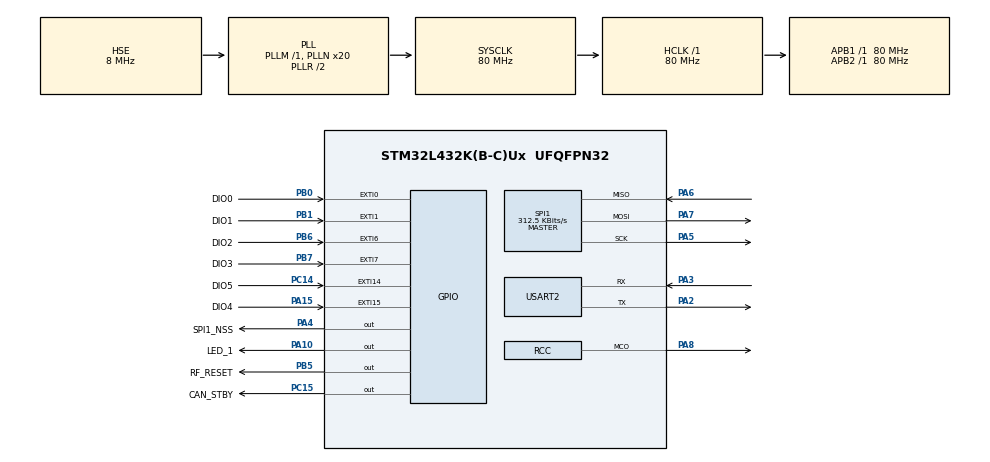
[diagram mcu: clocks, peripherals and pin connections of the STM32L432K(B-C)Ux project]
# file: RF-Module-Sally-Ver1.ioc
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Mcu.Family=STM32L4
Mcu.Name=STM32L432K(B-C)Ux
Mcu.Package=UFQFPN32
NVIC.PriorityGroup=NVIC_PRIORITYGROUP_4
PA0.Mode=HSE-External-Clock-Source-for-LittleOrca
PA0.Signal=RCC_CK_IN
PA10.GPIO_Label=LED_1
PA10.Signal=GPIO_Output
PA13\ (JTMS-SWDIO).Mode=Serial_Wire
PA13\ (JTMS-SWDIO).Signal=SYS_JTMS-SWDIO
PA14\ (JTCK-SWCLK).Mode=Serial_Wire
PA14\ (JTCK-SWCLK).Signal=SYS_JTCK-SWCLK
PA15\ (JTDI).GPIO_Label=DIO4
PA15\ (JTDI).Signal=GPXTI15
PA2.Mode=Asynchronous
PA2.Signal=USART2_TX
PA3.Mode=Asynchronous
PA3.Signal=USART2_RX
PA4.GPIO_Label=SPI1_NSS
PA4.Signal=GPIO_Output
PA5.Mode=Full_Duplex_Master
PA5.Signal=SPI1_SCK
PA6.Mode=Full_Duplex_Master
PA6.Signal=SPI1_MISO
PA7.Mode=Full_Duplex_Master
PA7.Signal=SPI1_MOSI
PA8.Mode=Clock-out
PA8.Signal=RCC_MCO
PB0.GPIO_Label=DIO0
PB0.Signal=GPXTI0
PB1.GPIO_Label=DIO1
PB1.Signal=GPXTI1
PB5.GPIO_Label=RF_RESET
PB5.Signal=GPIO_Output
PB6.GPIO_Label=DIO2
PB6.Signal=GPXTI6
PB7.GPIO_Label=DIO3
PB7.Signal=GPXTI7
PC14-OSC32_IN\ (PC14).GPIO_Label=DIO5
PC14-OSC32_IN\ (PC14).Signal=GPXTI14
PC15-OSC32_OUT\ (PC15).GPIO_Label=CAN_STBY
PC15-OSC32_OUT\ (PC15).Signal=GPIO_Output
ProjectManager.HeapSize=0x200
ProjectManager.StackSize=0x400
ProjectManager.TargetToolchain=STM32CubeIDE
RCC.ADCFreq_Value=32000000
RCC.AHBFreq_Value=80000000
RCC.APB1Freq_Value=80000000
RCC.APB1TimFreq_Value=80000000
RCC.APB2Freq_Value=80000000
RCC.APB2TimFreq_Value=80000000
RCC.CortexFreq_Value=80000000
RCC.HCLKFreq_Value=80000000
RCC.HSE_VALUE=8000000
RCC.HSI48_VALUE=48000000
RCC.HSI_VALUE=16000000
RCC.LSE_VALUE=32768
RCC.MSI_VALUE=4000000
RCC.PLLN=20
RCC.PLLSourceVirtual=RCC_PLLSOURCE_HSE
RCC.RCC_MCODiv=RCC_MCODIV_16
RCC.SYSCLKFreq_VALUE=80000000
RCC.SYSCLKSource=RCC_SYSCLKSOURCE_PLLCLK
RCC.USBFreq_Value=32000000
RCC.VCOOutputFreq_Value=160000000
SPI1.BaudRatePrescaler=SPI_BAUDRATEPRESCALER_256
SPI1.CalculateBaudRate=312.5 KBits/s
SPI1.DataSize=SPI_DATASIZE_8BIT
SPI1.Direction=SPI_DIRECTION_2LINES
SPI1.Mode=SPI_MODE_MASTER
SPI1.VirtualType=VM_MASTER
USART2.VirtualMode-Asynchronous=VM_ASYNC
board=custom

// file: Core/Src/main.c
/* USER CODE BEGIN Header */
/**
 ******************************************************************************
 * @file           : main.c
 * @brief          : Main program body
 ******************************************************************************
 * @attention
 *
 * Copyright (c) 2024 STMicroelectronics.
 * All rights reserved.
 *
 * This software is licensed under terms that can be found in the LICENSE file
 * in the root directory of this software component.
 * If no LICENSE file comes with this software, it is provided AS-IS.
 *
 ******************************************************************************
 */
/* USER CODE END Header */
#include "main.h"

/* USER CODE BEGIN Includes */
#include <stdio.h>
#include "lora_sx1276.h"
#include <stdlib.h>
/* USER CODE END Includes */

SPI_HandleTypeDef hspi1;

UART_HandleTypeDef huart2;

void SystemClock_Config(void);
static void MX_GPIO_Init(void);
static void MX_SPI1_Init(void);
static void MX_USART2_UART_Init(void);

/* USER CODE BEGIN 0 */
#ifdef __GNUC__
#define PUTCHAR_PROTOTYPE int __io_putchar(int ch)
#else
#define PUTCHAR_PROTOTYPE int fputc(int ch, FILE *f)
#endif

PUTCHAR_PROTOTYPE {
	HAL_UART_Transmit(&huart2, (uint8_t*) &ch, 1, HAL_MAX_DELAY);
	return ch;
}

void sleep_until(uint32_t ticks) {
	HAL_Delay(ticks);
}

int random_int() {
	return rand();
}

/* USER CODE END 0 */

int main(void) {

	/* MCU Configuration--------------------------------------------------------*/

	/* Reset of all peripherals, Initializes the Flash interface and the Systick. */
	HAL_Init();

	/* Configure the system clock */
	SystemClock_Config();

	/* Initialize all configured peripherals */
	MX_GPIO_Init();
	MX_SPI1_Init();
	MX_USART2_UART_Init();
	/* USER CODE BEGIN 2 */

	printf("\033[2J");
	lora_sx1276 lora;
	// Initialise RFM95 module.
	// SX1276 compatible module connected to SPI1, NSS pin connected to GPIO with label LORA_NSS
	HAL_GPIO_WritePin(RF_RESET_GPIO_Port, RF_RESET_Pin, GPIO_PIN_RESET);
	HAL_Delay(10);
	HAL_GPIO_WritePin(RF_RESET_GPIO_Port, RF_RESET_Pin, GPIO_PIN_SET);
	HAL_Delay(100);

	uint8_t value = 0;
	uint8_t reg = 0x42 & 0x7fu;
	// 7bit controls read/write mode
	//CLEAR_BIT(address, BIT_7);
	//address = address & 0x7fu;
	// Start SPI transaction
	HAL_GPIO_WritePin(SPI1_NSS_GPIO_Port, SPI1_NSS_Pin, GPIO_PIN_RESET);
	// Transmit reg address, then receive it value
	uint32_t res1 = HAL_SPI_Transmit(&hspi1, &reg, 1, HAL_MAX_DELAY);
	uint32_t res2 = HAL_SPI_Receive(&hspi1, &value, 1, HAL_MAX_DELAY);
	// End SPI transaction
	HAL_GPIO_WritePin(SPI1_NSS_GPIO_Port, SPI1_NSS_Pin, GPIO_PIN_SET);

	if (res1 != HAL_OK || res2 != HAL_OK) {
		//DEBUGF("SPI transmit/receive failed (%d %d)", res1, res2);
	}

//	uint8_t res = lora_init(&lora, &hspi1, SPI1_NSS_GPIO_Port, SPI1_NSS_Pin,
//			LORA_BASE_FREQUENCY_US);
//	if (res != LORA_OK) {
//		// Initialization failed
//	}
	/* USER CODE END 2 */

	/* Infinite loop */
	while (1) {

		/* USER CODE BEGIN 3 */
		HAL_Delay(100);
		HAL_GPIO_WritePin(RF_RESET_GPIO_Port, RF_RESET_Pin, GPIO_PIN_SET);
		HAL_Delay(10);
		HAL_GPIO_WritePin(RF_RESET_GPIO_Port, RF_RESET_Pin, GPIO_PIN_RESET);
		HAL_Delay(100);

		HAL_GPIO_WritePin(SPI1_NSS_GPIO_Port, SPI1_NSS_Pin, GPIO_PIN_RESET);
		// Transmit reg address, then receive it value
		uint32_t res1 = HAL_SPI_Transmit(&hspi1, &reg, 1, HAL_MAX_DELAY);
		uint32_t res2 = HAL_SPI_Receive(&hspi1, &value, 1, HAL_MAX_DELAY);
		// End SPI transaction
		HAL_GPIO_WritePin(SPI1_NSS_GPIO_Port, SPI1_NSS_Pin, GPIO_PIN_SET);

		printf("%d\r\n", value);

		uint8_t version;
		HAL_GPIO_WritePin(SPI1_NSS_GPIO_Port, SPI1_NSS_Pin, GPIO_PIN_RESET);

		uint8_t transmit_buffer = (uint8_t) 0x42 & 0x7fu;

		if (HAL_SPI_Transmit(&hspi1, &transmit_buffer, 1, 10) != HAL_OK) {

		}

		if (HAL_SPI_Receive(&hspi1, &version, 1, 10) != HAL_OK) {

		}

		HAL_GPIO_WritePin(SPI1_NSS_GPIO_Port, SPI1_NSS_Pin, GPIO_PIN_SET);
//		if (version != RFM9x_VER)
//			return false;
		printf("%d\r\n", version);
		HAL_GPIO_TogglePin(LED_1_GPIO_Port, LED_1_Pin);
		HAL_Delay(100);
	}
	/* USER CODE END 3 */
}

void SystemClock_Config(void) {
	RCC_OscInitTypeDef RCC_OscInitStruct = { 0 };
	RCC_ClkInitTypeDef RCC_ClkInitStruct = { 0 };

	/** Configure the main internal regulator output voltage
	 */
	if (HAL_PWREx_ControlVoltageScaling(PWR_REGULATOR_VOLTAGE_SCALE1)
			!= HAL_OK) {
		Error_Handler();
	}

	/** Initializes the RCC Oscillators according to the specified parameters
	 * in the RCC_OscInitTypeDef structure.
	 */
	RCC_OscInitStruct.OscillatorType = RCC_OSCILLATORTYPE_HSE;
	RCC_OscInitStruct.HSEState = RCC_HSE_BYPASS;
	RCC_OscInitStruct.PLL.PLLState = RCC_PLL_ON;
	RCC_OscInitStruct.PLL.PLLSource = RCC_PLLSOURCE_HSE;
	RCC_OscInitStruct.PLL.PLLM = 1;
	RCC_OscInitStruct.PLL.PLLN = 20;
	RCC_OscInitStruct.PLL.PLLP = RCC_PLLP_DIV7;
	RCC_OscInitStruct.PLL.PLLQ = RCC_PLLQ_DIV2;
	RCC_OscInitStruct.PLL.PLLR = RCC_PLLR_DIV2;
	if (HAL_RCC_OscConfig(&RCC_OscInitStruct) != HAL_OK) {
		Error_Handler();
	}

	/** Initializes the CPU, AHB and APB buses clocks
	 */
	RCC_ClkInitStruct.ClockType = RCC_CLOCKTYPE_HCLK | RCC_CLOCKTYPE_SYSCLK
			| RCC_CLOCKTYPE_PCLK1 | RCC_CLOCKTYPE_PCLK2;
	RCC_ClkInitStruct.SYSCLKSource = RCC_SYSCLKSOURCE_PLLCLK;
	RCC_ClkInitStruct.AHBCLKDivider = RCC_SYSCLK_DIV1;
	RCC_ClkInitStruct.APB1CLKDivider = RCC_HCLK_DIV1;
	RCC_ClkInitStruct.APB2CLKDivider = RCC_HCLK_DIV1;

	if (HAL_RCC_ClockConfig(&RCC_ClkInitStruct, FLASH_LATENCY_4) != HAL_OK) {
		Error_Handler();
	}
	HAL_RCC_MCOConfig(RCC_MCO1, RCC_MCO1SOURCE_SYSCLK, RCC_MCODIV_16);
}

static void MX_SPI1_Init(void) {

	/* SPI1 parameter configuration*/
	hspi1.Instance = SPI1;
	hspi1.Init.Mode = SPI_MODE_MASTER;
	hspi1.Init.Direction = SPI_DIRECTION_2LINES;
	hspi1.Init.DataSize = SPI_DATASIZE_8BIT;
	hspi1.Init.CLKPolarity = SPI_POLARITY_LOW;
	hspi1.Init.CLKPhase = SPI_PHASE_1EDGE;
	hspi1.Init.NSS = SPI_NSS_SOFT;
	hspi1.Init.BaudRatePrescaler = SPI_BAUDRATEPRESCALER_256;
	hspi1.Init.FirstBit = SPI_FIRSTBIT_MSB;
	hspi1.Init.TIMode = SPI_TIMODE_DISABLE;
	hspi1.Init.CRCCalculation = SPI_CRCCALCULATION_DISABLE;
	hspi1.Init.CRCPolynomial = 7;
	hspi1.Init.CRCLength = SPI_CRC_LENGTH_DATASIZE;
	hspi1.Init.NSSPMode = SPI_NSS_PULSE_ENABLE;
	if (HAL_SPI_Init(&hspi1) != HAL_OK) {
		Error_Handler();
	}

}

static void MX_USART2_UART_Init(void) {

	huart2.Instance = USART2;
	huart2.Init.BaudRate = 115200;
	huart2.Init.WordLength = UART_WORDLENGTH_8B;
	huart2.Init.StopBits = UART_STOPBITS_1;
	huart2.Init.Parity = UART_PARITY_NONE;
	huart2.Init.Mode = UART_MODE_TX_RX;
	huart2.Init.HwFlowCtl = UART_HWCONTROL_NONE;
	huart2.Init.OverSampling = UART_OVERSAMPLING_16;
	huart2.Init.OneBitSampling = UART_ONE_BIT_SAMPLE_DISABLE;
	huart2.AdvancedInit.AdvFeatureInit = UART_ADVFEATURE_NO_INIT;
	if (HAL_UART_Init(&huart2) != HAL_OK) {
		Error_Handler();
	}

}

static void MX_GPIO_Init(void) {
	GPIO_InitTypeDef GPIO_InitStruct = { 0 };

	/* GPIO Ports Clock Enable */
	__HAL_RCC_GPIOC_CLK_ENABLE();
	__HAL_RCC_GPIOA_CLK_ENABLE();
	__HAL_RCC_GPIOB_CLK_ENABLE();

	/*Configure GPIO pin Output Level */
	HAL_GPIO_WritePin(CAN_STBY_GPIO_Port, CAN_STBY_Pin, GPIO_PIN_RESET);

	/*Configure GPIO pin Output Level */
	HAL_GPIO_WritePin(GPIOA, SPI1_NSS_Pin | LED_1_Pin, GPIO_PIN_RESET);

	/*Configure GPIO pin Output Level */
	HAL_GPIO_WritePin(RF_RESET_GPIO_Port, RF_RESET_Pin, GPIO_PIN_RESET);

	/*Configure GPIO pin : DIO5_Pin */
	GPIO_InitStruct.Pin = DIO5_Pin;
	GPIO_InitStruct.Mode = GPIO_MODE_IT_RISING;
	GPIO_InitStruct.Pull = GPIO_NOPULL;
	HAL_GPIO_Init(DIO5_GPIO_Port, &GPIO_InitStruct);

	/*Configure GPIO pin : CAN_STBY_Pin */
	GPIO_InitStruct.Pin = CAN_STBY_Pin;
	GPIO_InitStruct.Mode = GPIO_MODE_OUTPUT_PP;
	GPIO_InitStruct.Pull = GPIO_NOPULL;
	GPIO_InitStruct.Speed = GPIO_SPEED_FREQ_LOW;
	HAL_GPIO_Init(CAN_STBY_GPIO_Port, &GPIO_InitStruct);

	/*Configure GPIO pins : SPI1_NSS_Pin LED_1_Pin */
	GPIO_InitStruct.Pin = SPI1_NSS_Pin | LED_1_Pin;
	GPIO_InitStruct.Mode = GPIO_MODE_OUTPUT_PP;
	GPIO_InitStruct.Pull = GPIO_NOPULL;
	GPIO_InitStruct.Speed = GPIO_SPEED_FREQ_LOW;
	HAL_GPIO_Init(GPIOA, &GPIO_InitStruct);

	/*Configure GPIO pins : DIO0_Pin DIO1_Pin DIO2_Pin DIO3_Pin */
	GPIO_InitStruct.Pin = DIO0_Pin | DIO1_Pin | DIO2_Pin | DIO3_Pin;
	GPIO_InitStruct.Mode = GPIO_MODE_IT_RISING;
	GPIO_InitStruct.Pull = GPIO_NOPULL;
	HAL_GPIO_Init(GPIOB, &GPIO_InitStruct);

	/*Configure GPIO pin : PA8 */
	GPIO_InitStruct.Pin = GPIO_PIN_8;
	GPIO_InitStruct.Mode = GPIO_MODE_AF_PP;
	GPIO_InitStruct.Pull = GPIO_NOPULL;
	GPIO_InitStruct.Speed = GPIO_SPEED_FREQ_LOW;
	GPIO_InitStruct.Alternate = GPIO_AF0_MCO;
	HAL_GPIO_Init(GPIOA, &GPIO_InitStruct);

	/*Configure GPIO pin : DIO4_Pin */
	GPIO_InitStruct.Pin = DIO4_Pin;
	GPIO_InitStruct.Mode = GPIO_MODE_IT_RISING;
	GPIO_InitStruct.Pull = GPIO_NOPULL;
	HAL_GPIO_Init(DIO4_GPIO_Port, &GPIO_InitStruct);

	/*Configure GPIO pin : RF_RESET_Pin */
	GPIO_InitStruct.Pin = RF_RESET_Pin;
	GPIO_InitStruct.Mode = GPIO_MODE_OUTPUT_PP;
	GPIO_InitStruct.Pull = GPIO_NOPULL;
	GPIO_InitStruct.Speed = GPIO_SPEED_FREQ_LOW;
	HAL_GPIO_Init(RF_RESET_GPIO_Port, &GPIO_InitStruct);

}

void Error_Handler(void) {
	__disable_irq();
	while (1) {
	}
}
